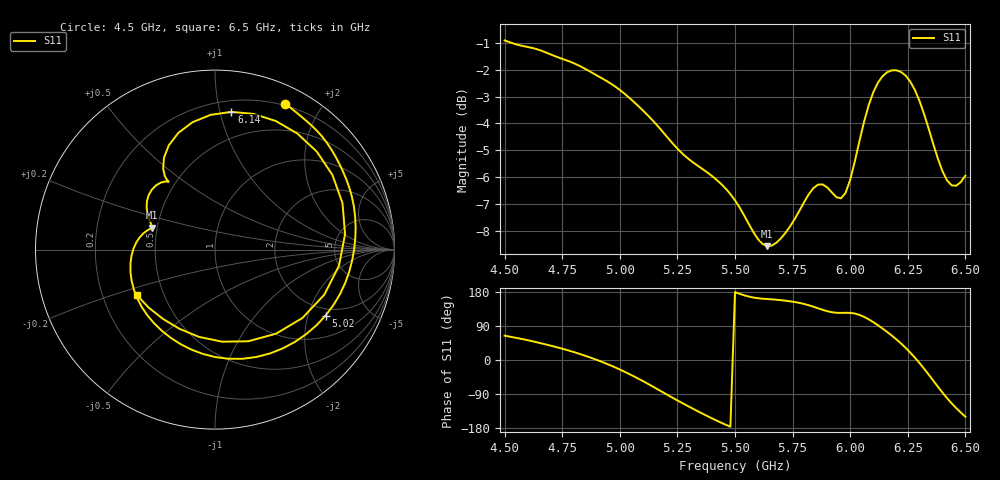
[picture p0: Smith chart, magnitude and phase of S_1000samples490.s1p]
! TOUCHSTONE file generated by CST MICROWAVE STUDIO
! Date and time: Fri Oct 28 08:28:59 2022
! Project name: L.cst
! Parameters = {Di=1.27; Epsilon_r=1.56; InnerDiameter=1.27; Length=2; Lf=10; Lg=60; OuterConductorThickness=0.2921; OuterDiameter=3.6; Wf=3; Wp=41.2; de=1.5; df=6.8; g=0.8; gx=3.52518; gy=0.428481; h=2.34; hf=1.524; px=11.5781; py=10.9785; w=9.7; wx=8.05287; wy=10.55}
! Header version: 2018
! Port assignment regex: !\s*Touchstone port\s*([0-9]+)\s*=\s*(CST MWS port|CST DS port)\s*([0-9]+|Zmin|Zmax)\s*\(\"(.*)\"\)(\s*mode\s*([0-9]+))?.*
! Touchstone port assignment:
! Touchstone port 1 = CST MWS port 1 ("")
# GHz S DB R 50
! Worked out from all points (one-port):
!   101 points, 4.5 GHz to 6.5 GHz, reference 50 ohm
!   lowest |S11| = -8.6 dB at 5.64 GHz (marker M1), VSWR 2.19, Z = 23.4 + j6.64 ohm
!   |S11| at or under -10 dB: nowhere
!   S11 on the Smith chart (normalised r, x): 4.5 GHz: 0.18, +1.58; 5.02 GHz: 1.72, -2.60; 6.14 GHz: 0.28, +1.08; 6.5 GHz: 0.35, -0.24
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4.5  -0.90 64.2
4.64  -1.23 46.8
4.76  -1.62 28.2
4.88  -2.11 4.7
5  -2.75 -25.1
5.02  -2.89 -30.8
5.14  -3.86 -69.0
5.2  -4.45 -89.7
5.26  -5.03 -110.0
5.38  -5.83 -148.0
5.5  -6.87 179.1
5.56  -7.75 167.4
5.64  -8.57 160.8
5.76  -7.55 152.9
5.88  -6.27 132.5
5.94  -6.75 124.6
6  -6.10 124.3
6.06  -3.94 113.9
6.1  -2.84 100.0
6.14  -2.24 83.2
6.2  -2.02 54.7
6.26  -2.43 20.0
6.3  -3.14 -7.5
6.34  -4.18 -38.1
6.36  -4.75 -54.0
6.38  -5.30 -70.0
6.42  -6.12 -100.4
6.5  -5.94 -149.8
